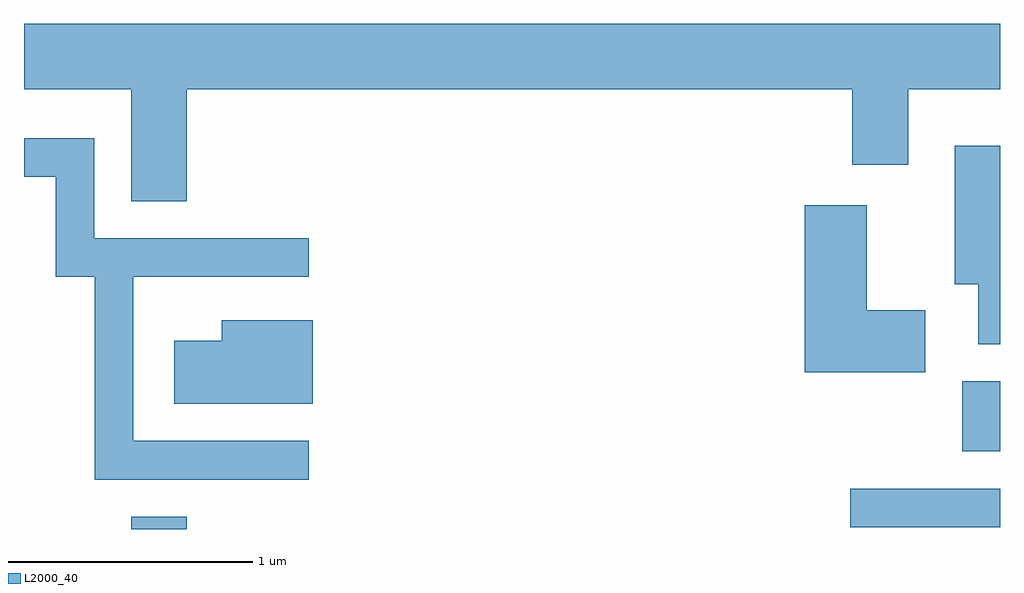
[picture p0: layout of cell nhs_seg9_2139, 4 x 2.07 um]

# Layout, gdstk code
import gdstk
lib = gdstk.Library(unit=1e-6, precision=1e-09)
def R(c, l, rs):  # rectangles x0, y0, x1, y1
    for r in rs: c.add(gdstk.rectangle(r[:2], r[2:], *l))
def P(c, l, *ps):  # polygons
    for p in ps: c.add(gdstk.Polygon(p, *l))
L2000_40 = (2000, 40)

nhs_seg9_2139 = lib.new_cell('nhs_seg9_2139')
R(nhs_seg9_2139, L2000_40, [(248.051,2014.432,248.279,2014.484), (250.998,2014.441,251.611,2014.599), (251.456,2014.751,251.611,2015.039)])
P(nhs_seg9_2139, L2000_40, [(248.279,2016.236),(251.006,2016.236),(251.006,2015.926),(251.234,2015.926),(251.234,2016.236),(251.611,2016.236),(251.611,2016.504),(247.611,2016.504),(247.611,2016.236),(248.051,2016.236),(248.051,2015.776),(248.279,2015.776)],
  [(248.778,2014.794),(248.059,2014.794),(248.059,2015.466),(248.778,2015.466),(248.778,2015.624),(247.899,2015.624),(247.899,2016.034),(247.611,2016.034),(247.611,2015.876),(247.741,2015.876),(247.741,2015.466),(247.901,2015.466),(247.901,2014.636),(248.778,2014.636)],
  [(251.611,2016.004),(251.426,2016.004),(251.426,2015.436),(251.521,2015.436),(251.521,2015.191),(251.611,2015.191)],
  [(251.304,2015.329),(251.064,2015.329),(251.064,2015.759),(250.811,2015.759),(250.811,2015.076),(251.304,2015.076)],
  [(248.794,2015.289),(248.421,2015.289),(248.421,2015.204),(248.226,2015.204),(248.226,2014.946),(248.794,2014.946)])

lib.write_gds('nhs_seg9_2139.gds')
